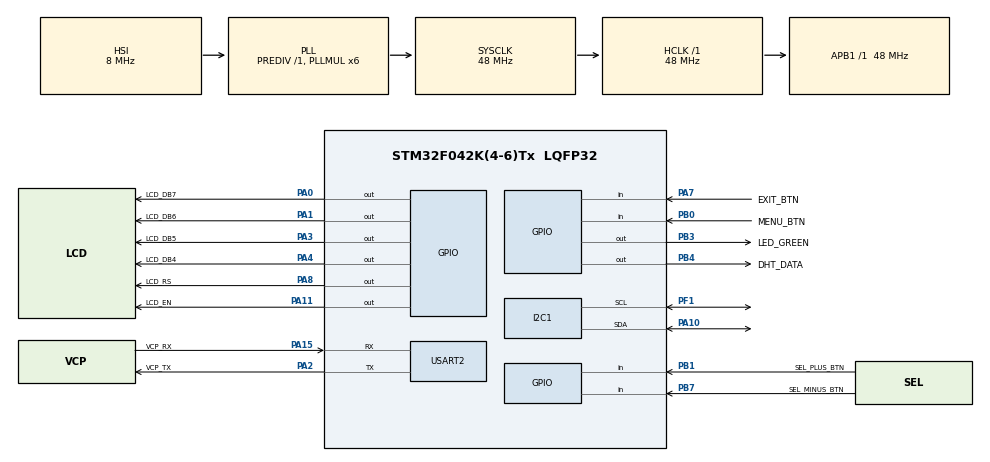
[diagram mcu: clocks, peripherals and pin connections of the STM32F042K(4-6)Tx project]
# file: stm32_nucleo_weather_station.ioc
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Mcu.Family=STM32F0
Mcu.Name=STM32F042K(4-6)Tx
Mcu.Package=LQFP32
PA0.GPIO_Label=LCD_DB7
PA0.Signal=GPIO_Output
PA1.GPIO_Label=LCD_DB6
PA1.Signal=GPIO_Output
PA10.Mode=I2C
PA10.Signal=I2C1_SDA
PA11.GPIO_Label=LCD_EN
PA11.Signal=GPIO_Output
PA13.GPIO_Label=SWDIO
PA13.Mode=Serial_Wire
PA13.Signal=SYS_SWDIO
PA14.GPIO_Label=SWCLK
PA14.Mode=Serial_Wire
PA14.Signal=SYS_SWCLK
PA15.GPIO_Label=VCP_RX
PA15.Mode=Asynchronous
PA15.Signal=USART2_RX
PA2.GPIO_Label=VCP_TX
PA2.Mode=Asynchronous
PA2.Signal=USART2_TX
PA3.GPIO_Label=LCD_DB5
PA3.Signal=GPIO_Output
PA4.GPIO_Label=LCD_DB4
PA4.Signal=GPIO_Output
PA7.GPIO_Label=EXIT_BTN
PA7.Signal=GPIO_Input
PA8.GPIO_Label=LCD_RS
PA8.Signal=GPIO_Output
PB0.GPIO_Label=MENU_BTN
PB0.Signal=GPIO_Input
PB1.GPIO_Label=SEL_PLUS_BTN
PB1.Signal=GPIO_Input
PB3.GPIO_Label=LED_GREEN
PB3.Signal=GPIO_Output
PB4.GPIO_Label=DHT_DATA
PB4.Signal=GPIO_Output
PB7.GPIO_Label=SEL_MINUS_BTN
PB7.Signal=GPIO_Input
PF0-OSC_IN.GPIO_Label=MCO
PF0-OSC_IN.Mode=HSE-External-Clock-Source
PF0-OSC_IN.Signal=RCC_OSC_IN
PF1-OSC_OUT.Mode=I2C
PF1-OSC_OUT.Signal=I2C1_SCL
ProjectManager.HeapSize=0x200
ProjectManager.StackSize=0x400
ProjectManager.TargetToolchain=STM32CubeIDE
RCC.AHBFreq_Value=48000000
RCC.APB1Freq_Value=48000000
RCC.APB1TimFreq_Value=48000000
RCC.HCLKFreq_Value=48000000
RCC.PLLMUL=RCC_PLL_MUL6
RCC.SYSCLKFreq_VALUE=48000000
RCC.SYSCLKSource=RCC_SYSCLKSOURCE_PLLCLK
RTC.Date=4
RTC.Hours=2
RTC.Minutes=40
RTC.Month=RTC_MONTH_MAY
RTC.Seconds=30
RTC.WeekDay=RTC_WEEKDAY_SATURDAY
RTC.Year=24
TIM1.Period=0xFFFF-1
TIM1.Prescaler=48-1
USART2.VirtualMode-Asynchronous=VM_ASYNC
VP_RTC_VS_RTC_Activate.Mode=RTC_Enabled
VP_RTC_VS_RTC_Calendar.Mode=RTC_Calendar
VP_TIM1_VS_ClockSourceINT.Mode=Internal
board=NUCLEO-F042K6

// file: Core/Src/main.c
/* USER CODE BEGIN Header */
/**
  ******************************************************************************
  * @file           : main.c
  * @brief          : Main program body
  ******************************************************************************
  * @attention
  *
  * Copyright (c) 2024 STMicroelectronics.
  * All rights reserved.
  *
  * This software is licensed under terms that can be found in the LICENSE file
  * in the root directory of this software component.
  * If no LICENSE file comes with this software, it is provided AS-IS.
  *
  ******************************************************************************
  Цифрова метеостанція на мікроконтролері STM32F042K6T6, плата STM32 NUCLEO-F042K6
  (Digital weather station based on STM32F042K6T6 microcontroller, STM32 STM32 NUCLEO-F042K6 board)
  */
/* USER CODE END Header */
#include "main.h"

/* USER CODE BEGIN Includes */
#include "lcd16x2.h"
#include "bmp180.h"
#include "dht.h"
//#include "ds1307.h"
#include "stdio.h"
//#include "stdlib.h"
//#include "string.h"
/* USER CODE END Includes */

I2C_HandleTypeDef hi2c1;

RTC_HandleTypeDef hrtc;

TIM_HandleTypeDef htim1;

UART_HandleTypeDef huart2;

/* USER CODE BEGIN PV */
//const char *temp_units_1[] = {"\xb0\C", "\xb0\F", "K"};
const char *temp_units_2[] = {"\xdf\C", "\xdf\F", "K "};
const char *pres_units[] = {"mb", "mmHg", "inHg", "hPa"};
int8_t pInd = 1, tInd = 0;

// створюємо значки температури, вологості і тиску для LCD
uint8_t temp_icon[] = { // lcd значок/іконка температури
  0x04, 0x0A, 0x0A, 0x0A, 0x0E, 0x1F, 0x1F, 0x0E
};

uint8_t smile_icon[] = {
  0x00, 0x0A, 0x0A, 0x00, 0x11, 0x0E, 0x00, 0x00
};

uint8_t clock_icon[] = {
  /*0x1F,
  0x15,
  0x0A,
  0x04,
  0x04,
  0x0A,
  0x15,
  0x1F*/
  0x1F, 0x15, 0x0A, 0x04, 0x0A, 0x15, 0x1F, 0x00
};

RTC_DateTypeDef rtc_date;
RTC_TimeTypeDef rtc_time;
/* масив днів тижня */
const char *days_of_week[7] = { "Sun", "Mon", "Tue", "Wed", "Thu", "Fri", "Sat" };

//volatile bool main_menu_call = false;

char buffer[200];
/* USER CODE END PV */

void SystemClock_Config(void);
static void MX_GPIO_Init(void);
static void MX_I2C1_Init(void);
static void MX_TIM1_Init(void);
static void MX_USART2_UART_Init(void);
static void MX_RTC_Init(void);
/* USER CODE BEGIN PFP */
void set_pressure_unit();
void set_temperature_unit();
void main_menu();
/* USER CODE END PFP */

/* USER CODE BEGIN 0 */

void delay_us(volatile uint16_t us)
{
  __HAL_TIM_SET_COUNTER(&htim1, 0);  // set the counter value a 0
  while (__HAL_TIM_GET_COUNTER(&htim1) < us);  // wait for the counter to reach the us input in the parameter
}

/*void delay_ms(volatile uint16_t ms)
{
	while(ms > 0)
	{
		__HAL_TIM_SET_COUNTER(&htim1, 0);
		ms--;
		while (__HAL_TIM_GET_COUNTER(&htim1) < 1000);
	}
}*/

void set_time(void)
{
    //RTC_TimeTypeDef rtc_time;
    unsigned char i = 0, col = 2;
    const char *time_items[] = { "hh", "mm", "ss", "^^" };
    uint8_t hours = 0, minutes = 0, seconds = 0;
 	bool lcd_output_flag = true, ok = 0;

 	HAL_RTC_GetTime(&hrtc, &rtc_time, RTC_FORMAT_BIN);
    hours = rtc_time.Hours;
    minutes = rtc_time.Minutes;
    seconds = rtc_time.Seconds;

    while (!ok)
    {
    	if (lcd_output_flag)
    	{
    		lcd16x2_clear();
    		lcd16x2_setCursor(0,2);
    		sprintf(buffer, "%02d:%02d:%02d OK", hours, minutes, seconds);
    	    lcd16x2_printf(buffer);
    	    lcd16x2_setCursor(1,col);
    	    lcd16x2_printf(time_items[i]);
    	    lcd_output_flag = false;
    	}

    	if (HAL_GPIO_ReadPin(SEL_PLUS_BTN_GPIO_Port, SEL_PLUS_BTN_Pin) == GPIO_PIN_SET)
    	{
    		switch (i)
			{
				case 0:
					if (hours == 23) hours = 0;
					else hours ++;
					break;
				case 1:
					if (minutes == 59) minutes = 0;
					else minutes ++;
				break;
				case 2:
					if (seconds == 59) seconds = 0;
					else seconds ++;
				break;
				case 3:
					ok = 1;
					break;
			}
			lcd_output_flag = true;
			HAL_Delay(200);
        }

    	if (HAL_GPIO_ReadPin(SEL_MINUS_BTN_GPIO_Port, SEL_MINUS_BTN_Pin) == GPIO_PIN_SET)
    	{
    		switch (i)
    		{
	       		case 0:
	        		if (hours == 0) hours = 23;
                    else hours --;
                    break;
                case 1:
                  	if (minutes == 0) minutes = 59;
                   	else minutes --;
                    	break;
                case 2:
                    if (seconds == 0) seconds = 59;
                    else seconds--;
                    break;
                case 3:
                    ok = 1;
                    break;
            }
	        lcd_output_flag = true;
	        HAL_Delay(200);
        }

    	if (HAL_GPIO_ReadPin(MENU_BTN_GPIO_Port, MENU_BTN_Pin) == GPIO_PIN_SET)
    	{
    		if (i == 3)
    		{
    		  i = 0; col = 2;
    		}
    		else
    		{
    			i++; col += 3;
    		}
    		lcd_output_flag = true;
    		HAL_Delay(200);
         }

         if (HAL_GPIO_ReadPin(EXIT_BTN_GPIO_Port, EXIT_BTN_Pin) == GPIO_PIN_SET)
         {
           HAL_Delay(200);
           return;
         }
    }

    rtc_time.Hours = hours;
    rtc_time.Minutes = minutes;
    rtc_time.Seconds = seconds;

    HAL_StatusTypeDef res = HAL_RTC_SetTime(&hrtc, &rtc_time, RTC_FORMAT_BIN);

    /*if (res != HAL_OK) {
       //UART_Printf("HAL_RTC_SetTime failed: %d\r\n", res);
       return -1;
    }*/
}

void set_date(void)
{
	//RTC_DateTypeDef rtc_date;
	const char *date_items[] = { "dd", "mm", "yy" , "wd", "^^"};
	uint8_t day = 0, month = 0, year = 0, dow = 0;
	uint8_t i = 0, col = 0;
	bool lcd_output_flag = true, ok = 0;

	HAL_RTC_GetDate(&hrtc, &rtc_date, RTC_FORMAT_BIN);
	day = rtc_date.Date;
	month = rtc_date.Month;
	year = rtc_date.Year;
	dow = rtc_date.WeekDay;

	while (!ok)
	{
		if (lcd_output_flag)
		{
			lcd16x2_clear();
			sprintf(buffer, "%02d/%02d/%02d %s OK", day, month, year, days_of_week[dow]);
			lcd16x2_setCursor(0,0);
			lcd16x2_printf(buffer);
			lcd16x2_setCursor(1,col);
			lcd16x2_printf(date_items[i]);
			lcd_output_flag = false;
		}

        if (HAL_GPIO_ReadPin(SEL_PLUS_BTN_GPIO_Port, SEL_PLUS_BTN_Pin) == GPIO_PIN_SET)
        {
           switch (i)
           {
              case 0:
            	  if (day == 31)
            		day = 1;
                  else day ++;
                  break;
              case 1:
                  if (month == 12) month = 1;
                  else month ++;
                  break;
              case 2:
                  if (year == 99) year = 0;
                  else year ++;
                  break;
              case 3:
            	  if (dow == 6) dow = 0;
            	  else dow ++;
            	  break;
              case 4:
            	  ok = 1; break;
           }
           lcd_output_flag = true;
           HAL_Delay(200);
        }

        if (HAL_GPIO_ReadPin(SEL_MINUS_BTN_GPIO_Port, SEL_MINUS_BTN_Pin) == GPIO_PIN_SET)
        {
        	switch (i)
        	{
        		case 0:
                   	if (day == 1) day = 31;
                    else day --;
                    break;
                case 1:
                    if (month == 1) month = 12;
                    else month --;
                    break;
                case 2:
                	if (year == 0) year = 99;
                	else year--;
                   	break;
                case 3:
                	if (dow == 0) dow = 6;
                	else dow --;
                	break;
                case 4: ok = 1; break;
        	}
        	lcd_output_flag = true;
        	HAL_Delay(200);
         }

        if (HAL_GPIO_ReadPin(MENU_BTN_GPIO_Port, MENU_BTN_Pin) == GPIO_PIN_SET)
        {
        	if (i == 4)
        	{
        		i = 0; col = 0;
        	}
        	else
        	{
        		if (i == 3) col += 4;
        	    else col += 3;
        		i++;
        	}
        	lcd_output_flag = true;
        	HAL_Delay(200);
     }

     if (HAL_GPIO_ReadPin(EXIT_BTN_GPIO_Port, EXIT_BTN_Pin) == GPIO_PIN_SET)
     {
    	 HAL_Delay(200);
    	 return;
     }

	}
	rtc_date.WeekDay = dow;
	rtc_date.Year = year;
	rtc_date.Month = month;
	rtc_date.Date = day;

	HAL_StatusTypeDef res = HAL_RTC_SetDate(&hrtc, &rtc_date, RTC_FORMAT_BIN);
	/*if (res != HAL_OK) {
	   //UART_Printf("HAL_RTC_SetDate failed: %d\r\n", res);
	   return -1;
	}*/
}

void set_pressure_unit()
{

  const char pressure_units_menu_title[] = "PRESSURE UNITS";
  uint8_t col[] = {7, 6, 6, 6}; //{"mb", "mmHg", "inHg", "hPa"};
  uint8_t i = 0;
  bool lcd_output_flag = true;

  while(1)
  {
    if (lcd_output_flag)
    {
    	lcd16x2_clear();
    	lcd16x2_setCursor(0,1);
    	lcd16x2_printf(pressure_units_menu_title);
    	lcd16x2_setCursor(1,0);
    	lcd16x2_printf(">>");
    	lcd16x2_setCursor(1,14);
    	lcd16x2_printf("<<");
    	lcd16x2_setCursor(1,col[i]);
        lcd16x2_printf(pres_units[i]);
        lcd_output_flag = false;
    }
    if (HAL_GPIO_ReadPin(SEL_PLUS_BTN_GPIO_Port, SEL_PLUS_BTN_Pin) == GPIO_PIN_SET)
    {
      if (i == 3) i = 0;
      else i++;
      lcd_output_flag = true;
      HAL_Delay(200);
    }

    if (HAL_GPIO_ReadPin(SEL_MINUS_BTN_GPIO_Port, SEL_MINUS_BTN_Pin) == GPIO_PIN_SET)
    {
      if (i == 0) i = 3;
      else i--;
      lcd_output_flag = true;
      HAL_Delay(200);
    }

    if (HAL_GPIO_ReadPin(MENU_BTN_GPIO_Port, MENU_BTN_Pin) == GPIO_PIN_SET)
    {
      pInd = i;
      HAL_Delay(200);
      return;
    }
    if (HAL_GPIO_ReadPin(EXIT_BTN_GPIO_Port, EXIT_BTN_Pin) == GPIO_PIN_SET)
    {
      HAL_Delay(200);
      return;
    }
  }
}

void set_temperature_unit()
{

  const char temperature_units_menu_title[] = "TEMPERATURE UNIT";
  uint8_t i = 0;
  bool lcd_output_flag = true;

  lcd16x2_clear();
  lcd16x2_setCursor(0,0);
  lcd16x2_printf(temperature_units_menu_title);
  lcd16x2_setCursor(1,0);
  lcd16x2_printf(">>");
  lcd16x2_setCursor(1,14);
  lcd16x2_printf("<<");

  while(1)
  {
    if (lcd_output_flag)
    {
      lcd16x2_setCursor(1,7);
      lcd16x2_printf(temp_units_2[i]);
      lcd_output_flag = false;
    }
    if (HAL_GPIO_ReadPin(SEL_PLUS_BTN_GPIO_Port, SEL_PLUS_BTN_Pin) == GPIO_PIN_SET)
    {
      if (i == 2) i = 0;
      else i++;
      lcd_output_flag = true;
      HAL_Delay(200);
    }

    if (HAL_GPIO_ReadPin(SEL_MINUS_BTN_GPIO_Port, SEL_MINUS_BTN_Pin) == GPIO_PIN_SET)
    {
      if (i == 0) i = 2;
      else i--;
      lcd_output_flag = true;
      HAL_Delay(200);
    }

    if (HAL_GPIO_ReadPin(MENU_BTN_GPIO_Port, MENU_BTN_Pin) == GPIO_PIN_SET)
    {
      tInd = i;
      HAL_Delay(200);
      return;
    }

    if (HAL_GPIO_ReadPin(EXIT_BTN_GPIO_Port, EXIT_BTN_Pin) == GPIO_PIN_SET)
    {
      HAL_Delay(200);
      return;
    }
  }
}

void main_menu()
{
  char *main_menu_items[] = {"TEMPERATURE UNIT", " PRESSURE UNITS ", "    SET TIME    ", "    SET DATE    ", "      EXIT      "};
  char menu_title[] = "** MAIN MENU **";
  int i = 0;
  bool lcd_output_flag = false;

  lcd16x2_clear();
  lcd16x2_1stLine();
  lcd16x2_printf(menu_title);
  lcd16x2_2ndLine();
  lcd16x2_printf(main_menu_items[i]);

  while(1)
  {
    if (lcd_output_flag)
    {
	  lcd16x2_2ndLine();
	  lcd16x2_printf(main_menu_items[i]);
      lcd_output_flag = false;
    }
    if (HAL_GPIO_ReadPin(SEL_PLUS_BTN_GPIO_Port, SEL_PLUS_BTN_Pin) == GPIO_PIN_SET)
    {
      if(i == 4) i = 0;
      else i++;
      lcd_output_flag = true;
      HAL_Delay(200);
    }
    if (HAL_GPIO_ReadPin(SEL_MINUS_BTN_GPIO_Port, SEL_MINUS_BTN_Pin) == GPIO_PIN_SET)
    {
      if (i == 0) i = 4;
      else i--;
      lcd_output_flag = true;
      HAL_Delay(200);
    }
    if (HAL_GPIO_ReadPin(MENU_BTN_GPIO_Port, MENU_BTN_Pin) == GPIO_PIN_SET)
    {
      HAL_Delay(200);
      switch(i)
      {
        case 0: set_temperature_unit(); break;
        case 1: set_pressure_unit(); break;
        case 2: set_time(); break;
        case 3: set_date(); break;
        case 4: return;
        default: break;
      }
      lcd16x2_clear();
      lcd16x2_1stLine();
      lcd16x2_setCursor(0,0);
      lcd16x2_printf(menu_title);
      lcd16x2_2ndLine();
      lcd16x2_printf(main_menu_items[i]);
    }
    if (HAL_GPIO_ReadPin(EXIT_BTN_GPIO_Port, EXIT_BTN_Pin)== GPIO_PIN_SET)
    {
      HAL_Delay(200);
      return;
    }
  }
}
/* USER CODE END 0 */

int main(void)
{
  /* USER CODE BEGIN 1 */
  //char title[] = "*** STM32 MCU Based Weather Station ***\r\n*** Developed by IHOR BIZHYK ***\r\n";
  float dht_temperature = 0.0f, dht_humidity = 0.0f;
  float bmp180_temperature = 0.0f;
  int32_t /*bmp180_temperature = 0,*/ bmp180_pressure = 0;
  bool flag_weather_date = 0;
  /* масив з назвами місяців */
  const char *months[12] = {"Jan", "Feb", "Mar", "Apr", "May", "Jun", "Jul", "Aug", "Sep", "Oct", "Nov", "Dec"};
  /* USER CODE END 1 */
  /* MCU Configuration--------------------------------------------------------*/
  /* Reset of all peripherals, Initializes the Flash interface and the Systick. */
  HAL_Init();

  /* Configure the system clock */
  SystemClock_Config();

  /* Initialize all configured peripherals */
  MX_GPIO_Init();
  MX_I2C1_Init();
  MX_TIM1_Init();
  MX_USART2_UART_Init();
  MX_RTC_Init();
  /* USER CODE BEGIN 2 */
  HAL_TIM_Base_Start(&htim1);
  lcd16x2_init_4bits(GPIOA, LCD_RS_Pin, LCD_EN_Pin, GPIOA, LCD_DB4_Pin, LCD_DB5_Pin, LCD_DB6_Pin, LCD_DB7_Pin);
  lcd16x2_cursorShow(false);
  lcd16x2_1stLine();
  lcd16x2_printf("STM32 MCU BASED");
  lcd16x2_2ndLine();
  lcd16x2_printf("WEATHER STATION");
  HAL_Delay(1000);
  lcd16x2_clear();
  lcd16x2_setCursor(0, 2);
  lcd16x2_printf("DEVELOPED BY");
  lcd16x2_setCursor(1, 0);
  lcd16x2_printf("ANDRIY HOLOVATYY");
  HAL_Delay(1000);
  //HAL_UART_Transmit(&huart1, (uint8_t *)title, strlen(title), 0xff);
  lcd16x2_custom_char(0, temp_icon);
  lcd16x2_custom_char(1, clock_icon);
  //
  bmp180_init(&hi2c1);
  bmp180_set_oversampling(BMP180_STANDARD); //BMP180_ULTRA);
  //* зчитуємо калібрувальні коефіцієнти перед входженням в головний цикл */
  bmp180_update_calibration_data();
  //
  dht_init(DHT_DATA_GPIO_Port, DHT_DATA_Pin, &htim1);
  /* Start DS1307 timing. Pass user I2C handle pointer to function. */
  /*ds1307_init(&hi2c1);
  ds1307_set_interrupt_rate(DS1307_1HZ);
  ds1307_set_enable_square_wave(DS1307_ENABLED);*/
  /* To test leap year correction. */
  /*ds1307_set_time_zone(+2, 00);
  ds1307_set_date(30);
  ds1307_set_month(4);
  ds1307_set_year(2024);
  ds1307_set_day_of_week(2);
  ds1307_set_hour(23);
  ds1307_set_minute(59);
  ds1307_set_second(30);*/

  /* USER CODE END 2 */

  /* Infinite loop */
  /* USER CODE BEGIN WHILE */
  while (1)
  {
	HAL_GPIO_TogglePin(GPIOB, GPIO_PIN_3);

	if (!flag_weather_date)
    {
		/* отримуємо/визначаємо ціле значення температури з давача bmp180 */
		//bmp180_temperature = bmp180_get_raw_temperature();
		/* отримуємо/визначаємо дійсне значення температури з давача bmp180 */
		bmp180_temperature = bmp180_get_temperature();
		/* читаємо дані тиску з давача bmp180 */
		bmp180_pressure = bmp180_get_pressure();
		/* читаємо дані про вологість і температуру з давача DHT */
		dht_read(&dht_humidity, &dht_temperature);
		/* обчислюємо значення точки роси */
		float dew_point = dht_calc_dewpoint(&dht_humidity, &dht_temperature);

		switch (pInd)
		{
  			case 1:
  				bmp180_pressure = bmp180_pressure * 0.0295333727*25.399999705;
  				break;
  			case 2:
  				bmp180_pressure = bmp180_pressure*0.0295333727;
  				break;
		}
		switch (tInd)
		{
  			case 1:
  				bmp180_temperature = (9.0/5.0)*bmp180_temperature + 32.0;
  				dht_temperature = (9.0/5.0)*dht_temperature + 32.0;
  				dew_point = (9.0/5.0)*dew_point + 32.0;
  				break;
  			case 2:
  				bmp180_temperature = bmp180_temperature + 274.15;
  				dht_temperature = dht_temperature + 274.15;
  				dew_point = dew_point + 274.15;
  				break;
		}
		/* вивід у послідовний порт */
		//sprintf(buffer, "BMP180, Temp = %.1f%s, Pres = %d %s\r\n", bmp180_temperature, temp_units_1[tInd], bmp180_pressure/100, pres_units[pInd]);
		//HAL_UART_Transmit(&huart1, buffer, strlen(buffer), 0xff);
		//HAL_UART_Transmit(&huart1, "DHT22, ", 7, 0xff);
		//sprintf(buffer, "Temp = %.1f\xb0\C ", dht_temperature);
		//sprintf(buffer, "Temp = %.1f%s ", dht_temperature, temp_units_1[tInd]);
		//HAL_UART_Transmit(&huart1, (uint8_t *)buffer, strlen(buffer), 0xff);
		//sprintf(buffer, "Humi = %.1f%%\r\n", dht_humidity);
		//HAL_UART_Transmit(&huart1, (uint8_t *)buffer, strlen(buffer), 0xff);
		/* вивід на дисплей */
		//sprintf(buffer, "%d.%d%s %d %s ", (int) bmp180_temperature/10, (int) bmp180_temperature%10, temp_units_2[tInd], (int) bmp180_pressure/100, pres_units[pInd]);
		sprintf(buffer, " %d%s %d %s", (int) bmp180_temperature, temp_units_2[tInd], (int) bmp180_pressure/100, pres_units[pInd]);
		lcd16x2_clear();
		lcd16x2_1stLine();
		lcd16x2_writeData((uint8_t)0);
		lcd16x2_printf(buffer);
		//int16_t dht_temp_int_part = (int) dht_temperature;
		//int16_t dht_temp_dec_part = (dht_temperature - ((int)dht_temperature))*10.0;
		//sprintf(buffer, "%d.%d%s %d", (int) dht_temperature, (int) dht_temp_dec_part, temp_units_2[tInd], (int) dht_humidity);
		sprintf(buffer, "%d%s %d", (int) dht_temperature, temp_units_2[tInd], (int) dht_humidity);
		lcd16x2_2ndLine();
		lcd16x2_printf(buffer);
		lcd16x2_printf("%% ");
		sprintf(buffer, "DP:%d%s", (int) dew_point, temp_units_2[tInd]);
		lcd16x2_printf(buffer);
		//HAL_Delay(1000);
		//float alt = bmp180_get_altitude();
		//float dew_point = dht_calc_dewpoint(&dht_humidity, &dht_temperature);
		//int8_t alt_dec_part = (alt - ((int)alt))*10.0;
		//int8_t dew_point_dec_part = (dew_point - ((int)dew_point))*10.0;
		//sprintf(buffer, "alt = %d m", (int) alt);//, (int) alt_dec_part);
		//lcd16x2_clear();
		//lcd16x2_1stLine();
		//lcd16x2_printf(buffer);
		/*sprintf(buffer, "dew_point = %d %%", (int) dew_point);//, (int) dew_point_dec_part);
		lcd16x2_2ndLine();
		lcd16x2_printf(buffer);*/
     }
	 else {
		 /* отримуємо з RTC поточний час */
		 HAL_RTC_GetTime(&hrtc, &rtc_time, RTC_FORMAT_BIN);
		 /* отримуємо з RTC поточну дату */
		 HAL_RTC_GetDate(&hrtc, &rtc_date, RTC_FORMAT_BIN);
		 /* виводимо у послідовний порт час у форматі: hh:mm:ss */
		 //sprintf((char*)time,"%02d:%02d:%02d", rtc_time.Hours, rtc_time.Minutes, rtc_time.Seconds);
		 //HAL_UART_Transmit(&huart1, buffer, strlen(buffer), 1000);
		 /* виводимо у послідовний порт дату у форматі: dd-mm-yy */
		 //sprintf((char*)date,"%02d-%02d-%2d", rtc_date.Date, rtc_date.Month, 2000 + rtc_date.Year);
		 //HAL_UART_Transmit(&huart1, buffer, strlen(buffer), 1000);
		 /* виводимо поточний час, день тижня, дату і назву місяця на дисплей */
		 lcd16x2_clear();
		 lcd16x2_1stLine();
		 lcd16x2_writeData((uint8_t)1);
		 sprintf(buffer, " %02d:%02d:%02d %s", rtc_time.Hours, rtc_time.Minutes, rtc_time.Seconds, days_of_week[rtc_date.WeekDay]);
		 lcd16x2_printf(buffer);
		 lcd16x2_2ndLine();
		 sprintf(buffer, "%02d/%02d/%d %s", rtc_date.Date, rtc_date.Month, 2000 + rtc_date.Year, months[rtc_date.Month-1]);
		 lcd16x2_printf(buffer);
	 }
	 if (HAL_GPIO_ReadPin(MENU_BTN_GPIO_Port, MENU_BTN_Pin) == GPIO_PIN_SET)
	 {
	   //HAL_GPIO_WritePin(GPIOD, GPIO_PIN_12, GPIO_PIN_SET);
	   main_menu();
	 }

	 if (HAL_GPIO_ReadPin(EXIT_BTN_GPIO_Port, EXIT_BTN_Pin) == GPIO_PIN_SET)
	 {
	  	  flag_weather_date = !flag_weather_date;
	 }
	 HAL_Delay(700);
    /* USER CODE END WHILE */

  }
}

void SystemClock_Config(void)
{
  RCC_OscInitTypeDef RCC_OscInitStruct = {0};
  RCC_ClkInitTypeDef RCC_ClkInitStruct = {0};
  RCC_PeriphCLKInitTypeDef PeriphClkInit = {0};

  /** Initializes the RCC Oscillators according to the specified parameters
  * in the RCC_OscInitTypeDef structure.
  */
  RCC_OscInitStruct.OscillatorType = RCC_OSCILLATORTYPE_HSI|RCC_OSCILLATORTYPE_LSI;
  RCC_OscInitStruct.HSIState = RCC_HSI_ON;
  RCC_OscInitStruct.HSICalibrationValue = RCC_HSICALIBRATION_DEFAULT;
  RCC_OscInitStruct.LSIState = RCC_LSI_ON;
  RCC_OscInitStruct.PLL.PLLState = RCC_PLL_ON;
  RCC_OscInitStruct.PLL.PLLSource = RCC_PLLSOURCE_HSI;
  RCC_OscInitStruct.PLL.PLLMUL = RCC_PLL_MUL6;
  RCC_OscInitStruct.PLL.PREDIV = RCC_PREDIV_DIV1;
  if (HAL_RCC_OscConfig(&RCC_OscInitStruct) != HAL_OK)
  {
    Error_Handler();
  }

  /** Initializes the CPU, AHB and APB buses clocks
  */
  RCC_ClkInitStruct.ClockType = RCC_CLOCKTYPE_HCLK|RCC_CLOCKTYPE_SYSCLK
                              |RCC_CLOCKTYPE_PCLK1;
  RCC_ClkInitStruct.SYSCLKSource = RCC_SYSCLKSOURCE_PLLCLK;
  RCC_ClkInitStruct.AHBCLKDivider = RCC_SYSCLK_DIV1;
  RCC_ClkInitStruct.APB1CLKDivider = RCC_HCLK_DIV1;

  if (HAL_RCC_ClockConfig(&RCC_ClkInitStruct, FLASH_LATENCY_1) != HAL_OK)
  {
    Error_Handler();
  }
  PeriphClkInit.PeriphClockSelection = RCC_PERIPHCLK_I2C1|RCC_PERIPHCLK_RTC;
  PeriphClkInit.I2c1ClockSelection = RCC_I2C1CLKSOURCE_HSI;
  PeriphClkInit.RTCClockSelection = RCC_RTCCLKSOURCE_LSI;
  if (HAL_RCCEx_PeriphCLKConfig(&PeriphClkInit) != HAL_OK)
  {
    Error_Handler();
  }
}

static void MX_I2C1_Init(void)
{

  hi2c1.Instance = I2C1;
  hi2c1.Init.Timing = 0x2000090E;
  hi2c1.Init.OwnAddress1 = 0;
  hi2c1.Init.AddressingMode = I2C_ADDRESSINGMODE_7BIT;
  hi2c1.Init.DualAddressMode = I2C_DUALADDRESS_DISABLE;
  hi2c1.Init.OwnAddress2 = 0;
  hi2c1.Init.OwnAddress2Masks = I2C_OA2_NOMASK;
  hi2c1.Init.GeneralCallMode = I2C_GENERALCALL_DISABLE;
  hi2c1.Init.NoStretchMode = I2C_NOSTRETCH_DISABLE;
  if (HAL_I2C_Init(&hi2c1) != HAL_OK)
  {
    Error_Handler();
  }

  /** Configure Analogue filter
  */
  if (HAL_I2CEx_ConfigAnalogFilter(&hi2c1, I2C_ANALOGFILTER_ENABLE) != HAL_OK)
  {
    Error_Handler();
  }

  /** Configure Digital filter
  */
  if (HAL_I2CEx_ConfigDigitalFilter(&hi2c1, 0) != HAL_OK)
  {
    Error_Handler();
  }

}

static void MX_RTC_Init(void)
{

  RTC_TimeTypeDef sTime = {0};
  RTC_DateTypeDef sDate = {0};

  /** Initialize RTC Only
  */
  hrtc.Instance = RTC;
  hrtc.Init.HourFormat = RTC_HOURFORMAT_24;
  hrtc.Init.AsynchPrediv = 127;
  hrtc.Init.SynchPrediv = 255;
  hrtc.Init.OutPut = RTC_OUTPUT_DISABLE;
  hrtc.Init.OutPutPolarity = RTC_OUTPUT_POLARITY_HIGH;
  hrtc.Init.OutPutType = RTC_OUTPUT_TYPE_OPENDRAIN;
  if (HAL_RTC_Init(&hrtc) != HAL_OK)
  {
    Error_Handler();
  }

  /** Initialize RTC and set the Time and Date
  */
  sTime.Hours = 0x2;
  sTime.Minutes = 0x40;
  sTime.Seconds = 0x30;
  sTime.DayLightSaving = RTC_DAYLIGHTSAVING_NONE;
  sTime.StoreOperation = RTC_STOREOPERATION_RESET;
  if (HAL_RTC_SetTime(&hrtc, &sTime, RTC_FORMAT_BCD) != HAL_OK)
  {
    Error_Handler();
  }
  sDate.WeekDay = RTC_WEEKDAY_SATURDAY;
  sDate.Month = RTC_MONTH_MAY;
  sDate.Date = 0x4;
  sDate.Year = 0x24;

  if (HAL_RTC_SetDate(&hrtc, &sDate, RTC_FORMAT_BCD) != HAL_OK)
  {
    Error_Handler();
  }

}

static void MX_TIM1_Init(void)
{

  TIM_ClockConfigTypeDef sClockSourceConfig = {0};
  TIM_MasterConfigTypeDef sMasterConfig = {0};

  htim1.Instance = TIM1;
  htim1.Init.Prescaler = 48-1;
  htim1.Init.CounterMode = TIM_COUNTERMODE_UP;
  htim1.Init.Period = 0xFFFF-1;
  htim1.Init.ClockDivision = TIM_CLOCKDIVISION_DIV1;
  htim1.Init.RepetitionCounter = 0;
  htim1.Init.AutoReloadPreload = TIM_AUTORELOAD_PRELOAD_DISABLE;
  if (HAL_TIM_Base_Init(&htim1) != HAL_OK)
  {
    Error_Handler();
  }
  sClockSourceConfig.ClockSource = TIM_CLOCKSOURCE_INTERNAL;
  if (HAL_TIM_ConfigClockSource(&htim1, &sClockSourceConfig) != HAL_OK)
  {
    Error_Handler();
  }
  sMasterConfig.MasterOutputTrigger = TIM_TRGO_RESET;
  sMasterConfig.MasterSlaveMode = TIM_MASTERSLAVEMODE_DISABLE;
  if (HAL_TIMEx_MasterConfigSynchronization(&htim1, &sMasterConfig) != HAL_OK)
  {
    Error_Handler();
  }

}

static void MX_USART2_UART_Init(void)
{

  huart2.Instance = USART2;
  huart2.Init.BaudRate = 38400;
  huart2.Init.WordLength = UART_WORDLENGTH_8B;
  huart2.Init.StopBits = UART_STOPBITS_1;
  huart2.Init.Parity = UART_PARITY_NONE;
  huart2.Init.Mode = UART_MODE_TX_RX;
  huart2.Init.HwFlowCtl = UART_HWCONTROL_NONE;
  huart2.Init.OverSampling = UART_OVERSAMPLING_16;
  huart2.Init.OneBitSampling = UART_ONE_BIT_SAMPLE_DISABLE;
  huart2.AdvancedInit.AdvFeatureInit = UART_ADVFEATURE_NO_INIT;
  if (HAL_UART_Init(&huart2) != HAL_OK)
  {
    Error_Handler();
  }

}

static void MX_GPIO_Init(void)
{
  GPIO_InitTypeDef GPIO_InitStruct = {0};

  /* GPIO Ports Clock Enable */
  __HAL_RCC_GPIOF_CLK_ENABLE();
  __HAL_RCC_GPIOA_CLK_ENABLE();
  __HAL_RCC_GPIOB_CLK_ENABLE();

  /*Configure GPIO pin Output Level */
  HAL_GPIO_WritePin(GPIOA, LCD_DB7_Pin|LCD_DB6_Pin|LCD_DB5_Pin|LCD_DB4_Pin
                          |LCD_RS_Pin|LCD_EN_Pin, GPIO_PIN_RESET);

  /*Configure GPIO pin Output Level */
  HAL_GPIO_WritePin(GPIOB, LED_GREEN_Pin|DHT_DATA_Pin, GPIO_PIN_RESET);

  /*Configure GPIO pins : LCD_DB7_Pin LCD_DB6_Pin LCD_DB5_Pin LCD_DB4_Pin
                           LCD_RS_Pin LCD_EN_Pin */
  GPIO_InitStruct.Pin = LCD_DB7_Pin|LCD_DB6_Pin|LCD_DB5_Pin|LCD_DB4_Pin
                          |LCD_RS_Pin|LCD_EN_Pin;
  GPIO_InitStruct.Mode = GPIO_MODE_OUTPUT_PP;
  GPIO_InitStruct.Pull = GPIO_NOPULL;
  GPIO_InitStruct.Speed = GPIO_SPEED_FREQ_LOW;
  HAL_GPIO_Init(GPIOA, &GPIO_InitStruct);

  /*Configure GPIO pin : EXIT_BTN_Pin */
  GPIO_InitStruct.Pin = EXIT_BTN_Pin;
  GPIO_InitStruct.Mode = GPIO_MODE_INPUT;
  GPIO_InitStruct.Pull = GPIO_NOPULL;
  HAL_GPIO_Init(EXIT_BTN_GPIO_Port, &GPIO_InitStruct);

  /*Configure GPIO pins : MENU_BTN_Pin SEL_PLUS_BTN_Pin SEL_MINUS_BTN_Pin */
  GPIO_InitStruct.Pin = MENU_BTN_Pin|SEL_PLUS_BTN_Pin|SEL_MINUS_BTN_Pin;
  GPIO_InitStruct.Mode = GPIO_MODE_INPUT;
  GPIO_InitStruct.Pull = GPIO_NOPULL;
  HAL_GPIO_Init(GPIOB, &GPIO_InitStruct);

  /*Configure GPIO pins : LED_GREEN_Pin DHT_DATA_Pin */
  GPIO_InitStruct.Pin = LED_GREEN_Pin|DHT_DATA_Pin;
  GPIO_InitStruct.Mode = GPIO_MODE_OUTPUT_PP;
  GPIO_InitStruct.Pull = GPIO_NOPULL;
  GPIO_InitStruct.Speed = GPIO_SPEED_FREQ_LOW;
  HAL_GPIO_Init(GPIOB, &GPIO_InitStruct);

}

void Error_Handler(void)
{
  __disable_irq();
  while (1)
  {
  }
}
